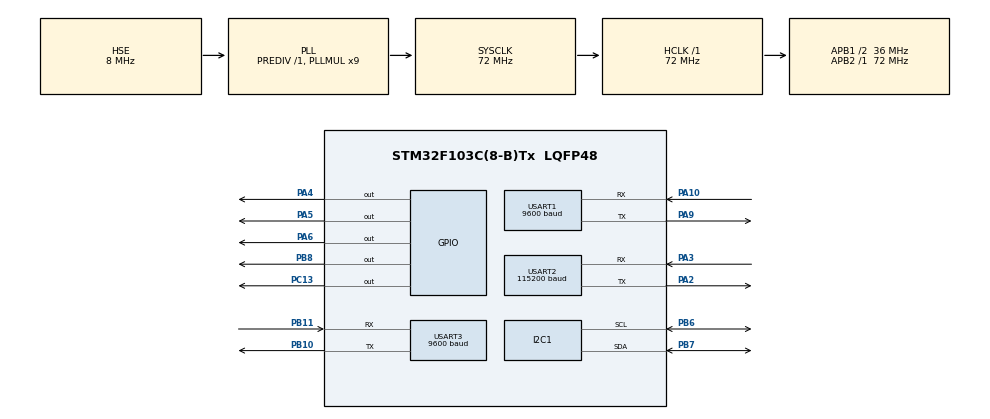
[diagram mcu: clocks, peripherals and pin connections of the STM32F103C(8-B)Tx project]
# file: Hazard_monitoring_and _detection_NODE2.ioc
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Mcu.Family=STM32F1
Mcu.Name=STM32F103C(8-B)Tx
Mcu.Package=LQFP48
NVIC.PriorityGroup=NVIC_PRIORITYGROUP_4
NVIC.USART1_IRQn=true\:1\:0\:true\:false\:true\:true\:true\:true
PA10.Mode=Asynchronous
PA10.Signal=USART1_RX
PA13.Mode=Serial_Wire
PA13.Signal=SYS_JTMS-SWDIO
PA14.Mode=Serial_Wire
PA14.Signal=SYS_JTCK-SWCLK
PA2.Mode=Asynchronous
PA2.Signal=USART2_TX
PA3.Mode=Asynchronous
PA3.Signal=USART2_RX
PA4.Signal=GPIO_Output
PA5.Signal=GPIO_Output
PA6.Signal=GPIO_Output
PA9.Mode=Asynchronous
PA9.Signal=USART1_TX
PB10.Mode=Asynchronous
PB10.Signal=USART3_TX
PB11.Mode=Asynchronous
PB11.Signal=USART3_RX
PB6.Mode=I2C
PB6.Signal=I2C1_SCL
PB7.Mode=I2C
PB7.Signal=I2C1_SDA
PB8.GPIO_ModeDefaultOutputPP=GPIO_MODE_OUTPUT_OD
PB8.GPIO_PuPd=GPIO_PULLUP
PB8.Signal=GPIO_Output
PC13-TAMPER-RTC.Signal=GPIO_Output
PD0-OSC_IN.Mode=HSE-External-Oscillator
PD0-OSC_IN.Signal=RCC_OSC_IN
PD1-OSC_OUT.Mode=HSE-External-Oscillator
PD1-OSC_OUT.Signal=RCC_OSC_OUT
ProjectManager.HeapSize=0x200
ProjectManager.StackSize=0x400
ProjectManager.TargetToolchain=MDK-ARM V5.32
RCC.AHBFreq_Value=72000000
RCC.APB1CLKDivider=RCC_HCLK_DIV2
RCC.APB1Freq_Value=36000000
RCC.APB1TimFreq_Value=72000000
RCC.APB2Freq_Value=72000000
RCC.APB2TimFreq_Value=72000000
RCC.HCLKFreq_Value=72000000
RCC.PLLMUL=RCC_PLL_MUL9
RCC.PLLSourceVirtual=RCC_PLLSOURCE_HSE
RCC.SYSCLKFreq_VALUE=72000000
RCC.SYSCLKSource=RCC_SYSCLKSOURCE_PLLCLK
RCC.USBFreq_Value=72000000
TIM2.Prescaler=71
USART1.BaudRate=9600
USART1.VirtualMode=VM_ASYNC
USART2.BaudRate=115200
USART2.VirtualMode=VM_ASYNC
USART3.BaudRate=9600
USART3.VirtualMode=VM_ASYNC
VP_TIM2_VS_ClockSourceINT.Mode=Internal
board=custom

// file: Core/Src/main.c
/* USER CODE BEGIN Header */
/**
  ******************************************************************************
  * @file           : main.c
  * @brief          : Main program body
  ******************************************************************************
  * @attention
  *
  * Copyright (c) 2025 STMicroelectronics.
  * All rights reserved.
  *
  * This software is licensed under terms that can be found in the LICENSE file
  * in the root directory of this software component.
  * If no LICENSE file comes with this software, it is provided AS-IS.
  *
  ******************************************************************************
  */
/* USER CODE END Header */
#include "main.h"

/* USER CODE BEGIN Includes */
#include "uart.h"
#include "dht22.h"
#include <string.h>
#include <stdio.h>
#include "dfplayer.h"
#include "LiquidCrystal_I2C.h"
#include "cprintf.h"
#include "hostweb.h"
#include "handle_cmd.h"
#include "lorasendvalue.h"
/* USER CODE END Includes */

I2C_HandleTypeDef hi2c1;

TIM_HandleTypeDef htim2;

UART_HandleTypeDef huart1;
UART_HandleTypeDef huart2;
UART_HandleTypeDef huart3;

void SystemClock_Config(void);
static void MX_GPIO_Init(void);
static void MX_USART1_UART_Init(void);
static void MX_TIM2_Init(void);
static void MX_I2C1_Init(void);
static void MX_USART2_UART_Init(void);
static void MX_USART3_UART_Init(void);

/* USER CODE BEGIN 0 */

/* Var Declaration */
Dht22_Typedef 	dht22;
DfplayerTypedef dfplayer;
LiquidCrystal_I2C hlcd1;
HostwebTypedef hostweb_node2;

/* Nhan ngat UART */

static uint8_t data_rx;
void HAL_UART_RxCpltCallback(UART_HandleTypeDef *huart)
{
	if(huart->Instance == huart1.Instance)
	{

		receive_data(data_rx);
		HAL_UART_Receive_IT(&huart1,&data_rx,1);
	}
}

/* USER CODE END 0 */

int main(void)
{

  /* MCU Configuration--------------------------------------------------------*/

  /* Reset of all peripherals, Initializes the Flash interface and the Systick. */
  HAL_Init();

  /* USER CODE BEGIN Init */
//	HAL_DeInit();
  /* USER CODE END Init */

  /* Configure the system clock */
  SystemClock_Config();

  /* Initialize all configured peripherals */
  MX_GPIO_Init();
  MX_USART1_UART_Init();
  MX_TIM2_Init();
  MX_I2C1_Init();
  MX_USART2_UART_Init();
  MX_USART3_UART_Init();
  /* USER CODE BEGIN 2 */

	HAL_TIM_Base_Start(&htim2);

	HAL_UART_Receive_IT(&huart1,&data_rx,1);
	uart_receive_handle(&hostweb_node2, &dht22);
	lora_send_sensor_value_esp32(&huart1, &dht22);

	dht22_init(&dht22, &htim2, GPIOB, GPIO_PIN_8);
	dht22_handle(&dht22);
	dfplayer_init(&dfplayer, &huart3, 30);
	lcd_init(&hlcd1, &hi2c1, LCD_ADDR_DEFAULT);
	lcd_clear_display(&hlcd1);
	lcd_display_temp_humid(&hlcd1, &dht22);
	hostweb_init(&hostweb_node2, GPIOA, GPIO_PIN_4,
						GPIOA, GPIO_PIN_5, GPIOA, GPIO_PIN_6);

	hostweb_node2.temperature_threshold = 25;
	hostweb_node2.humid_threshold = 50;
	hostweb_node2.buzzer_state = 0;
  /* USER CODE END 2 */

  /* Infinite loop */
  while (1)
  {

    /* USER CODE BEGIN 3 */
/************* DHT22 *************/
		hostweb_handle(&hostweb_node2, &dht22, &dfplayer); // Xu ly du lieu
    // Doc cam bien sau 100ms
		static uint32_t previousTick = 0;
    if (HAL_GetTick() - previousTick >= 100)
		{ // Neu du 100ms
        previousTick = HAL_GetTick();
//
        dht22_handle(&dht22); // Doc cam bien
    }
//		dht22_handle(&dht22); // Doc cam bien
//		// Nhan nguong du lieu cam bien
//		static uint32_t receive_delay_time = 0;
//    if (HAL_GetTick() - receive_delay_time >= 2000)
//		{
//			receive_delay_time = HAL_GetTick();
//			uart_receive_handle(&hostweb_node2, &dht22);
//    }
		uart_receive_handle(&hostweb_node2, &dht22);
		static uint32_t send_delay_time = 0;
    if (HAL_GetTick() - send_delay_time >5500)
		{
       send_delay_time = HAL_GetTick();
			for( int i = 0; i<5; i++)
			{
				lora_send_sensor_value_esp32(&huart1, &dht22);
				HAL_Delay(2);
			}

    }

//		// Gui du lieu cam bien
//		lora_send_sensor_value_esp32(&huart1, &dht22);

    // Kiem tra thoi gian cap nhat du lieu
    static uint32_t value_display_time = 0;
    if (HAL_GetTick() - value_display_time >= 3000) // Cap nhat moi 500ms
    {
			value_display_time = HAL_GetTick();
			lcd_display_temp_humid(&hlcd1, &dht22);  // Hien thi LCD
//			send_value_to_UART(&huart2, &dht22);

		}
		static uint32_t threshold_display_time = 0;
    if (HAL_GetTick() - threshold_display_time >= 1000) // Cap nhat moi 2000ms
    {
			threshold_display_time = HAL_GetTick();
			lcd_display_threshold_temp_humid(&hlcd1, &hostweb_node2);
//			send_threshold_to_UART(&huart2, &hostweb_node2);           // Gui du lieu UART
		}
  }

  /* USER CODE END 3 */
}

void SystemClock_Config(void)
{
  RCC_OscInitTypeDef RCC_OscInitStruct = {0};
  RCC_ClkInitTypeDef RCC_ClkInitStruct = {0};

  /** Initializes the RCC Oscillators according to the specified parameters
  * in the RCC_OscInitTypeDef structure.
  */
  RCC_OscInitStruct.OscillatorType = RCC_OSCILLATORTYPE_HSE;
  RCC_OscInitStruct.HSEState = RCC_HSE_ON;
  RCC_OscInitStruct.HSEPredivValue = RCC_HSE_PREDIV_DIV1;
  RCC_OscInitStruct.HSIState = RCC_HSI_ON;
  RCC_OscInitStruct.PLL.PLLState = RCC_PLL_ON;
  RCC_OscInitStruct.PLL.PLLSource = RCC_PLLSOURCE_HSE;
  RCC_OscInitStruct.PLL.PLLMUL = RCC_PLL_MUL9;
  if (HAL_RCC_OscConfig(&RCC_OscInitStruct) != HAL_OK)
  {
    Error_Handler();
  }

  /** Initializes the CPU, AHB and APB buses clocks
  */
  RCC_ClkInitStruct.ClockType = RCC_CLOCKTYPE_HCLK|RCC_CLOCKTYPE_SYSCLK
                              |RCC_CLOCKTYPE_PCLK1|RCC_CLOCKTYPE_PCLK2;
  RCC_ClkInitStruct.SYSCLKSource = RCC_SYSCLKSOURCE_PLLCLK;
  RCC_ClkInitStruct.AHBCLKDivider = RCC_SYSCLK_DIV1;
  RCC_ClkInitStruct.APB1CLKDivider = RCC_HCLK_DIV2;
  RCC_ClkInitStruct.APB2CLKDivider = RCC_HCLK_DIV1;

  if (HAL_RCC_ClockConfig(&RCC_ClkInitStruct, FLASH_LATENCY_2) != HAL_OK)
  {
    Error_Handler();
  }
}

static void MX_I2C1_Init(void)
{

  hi2c1.Instance = I2C1;
  hi2c1.Init.ClockSpeed = 100000;
  hi2c1.Init.DutyCycle = I2C_DUTYCYCLE_2;
  hi2c1.Init.OwnAddress1 = 0;
  hi2c1.Init.AddressingMode = I2C_ADDRESSINGMODE_7BIT;
  hi2c1.Init.DualAddressMode = I2C_DUALADDRESS_DISABLE;
  hi2c1.Init.OwnAddress2 = 0;
  hi2c1.Init.GeneralCallMode = I2C_GENERALCALL_DISABLE;
  hi2c1.Init.NoStretchMode = I2C_NOSTRETCH_DISABLE;
  if (HAL_I2C_Init(&hi2c1) != HAL_OK)
  {
    Error_Handler();
  }

}

static void MX_TIM2_Init(void)
{

  TIM_ClockConfigTypeDef sClockSourceConfig = {0};
  TIM_MasterConfigTypeDef sMasterConfig = {0};

  htim2.Instance = TIM2;
  htim2.Init.Prescaler = 71;
  htim2.Init.CounterMode = TIM_COUNTERMODE_UP;
  htim2.Init.Period = 65535;
  htim2.Init.ClockDivision = TIM_CLOCKDIVISION_DIV1;
  htim2.Init.AutoReloadPreload = TIM_AUTORELOAD_PRELOAD_DISABLE;
  if (HAL_TIM_Base_Init(&htim2) != HAL_OK)
  {
    Error_Handler();
  }
  sClockSourceConfig.ClockSource = TIM_CLOCKSOURCE_INTERNAL;
  if (HAL_TIM_ConfigClockSource(&htim2, &sClockSourceConfig) != HAL_OK)
  {
    Error_Handler();
  }
  sMasterConfig.MasterOutputTrigger = TIM_TRGO_RESET;
  sMasterConfig.MasterSlaveMode = TIM_MASTERSLAVEMODE_DISABLE;
  if (HAL_TIMEx_MasterConfigSynchronization(&htim2, &sMasterConfig) != HAL_OK)
  {
    Error_Handler();
  }

}

static void MX_USART1_UART_Init(void)
{

  huart1.Instance = USART1;
  huart1.Init.BaudRate = 9600;
  huart1.Init.WordLength = UART_WORDLENGTH_8B;
  huart1.Init.StopBits = UART_STOPBITS_1;
  huart1.Init.Parity = UART_PARITY_NONE;
  huart1.Init.Mode = UART_MODE_TX_RX;
  huart1.Init.HwFlowCtl = UART_HWCONTROL_NONE;
  huart1.Init.OverSampling = UART_OVERSAMPLING_16;
  if (HAL_UART_Init(&huart1) != HAL_OK)
  {
    Error_Handler();
  }

}

static void MX_USART2_UART_Init(void)
{

  huart2.Instance = USART2;
  huart2.Init.BaudRate = 115200;
  huart2.Init.WordLength = UART_WORDLENGTH_8B;
  huart2.Init.StopBits = UART_STOPBITS_1;
  huart2.Init.Parity = UART_PARITY_NONE;
  huart2.Init.Mode = UART_MODE_TX_RX;
  huart2.Init.HwFlowCtl = UART_HWCONTROL_NONE;
  huart2.Init.OverSampling = UART_OVERSAMPLING_16;
  if (HAL_UART_Init(&huart2) != HAL_OK)
  {
    Error_Handler();
  }

}

static void MX_USART3_UART_Init(void)
{

  huart3.Instance = USART3;
  huart3.Init.BaudRate = 9600;
  huart3.Init.WordLength = UART_WORDLENGTH_8B;
  huart3.Init.StopBits = UART_STOPBITS_1;
  huart3.Init.Parity = UART_PARITY_NONE;
  huart3.Init.Mode = UART_MODE_TX_RX;
  huart3.Init.HwFlowCtl = UART_HWCONTROL_NONE;
  huart3.Init.OverSampling = UART_OVERSAMPLING_16;
  if (HAL_UART_Init(&huart3) != HAL_OK)
  {
    Error_Handler();
  }

}

static void MX_GPIO_Init(void)
{
  GPIO_InitTypeDef GPIO_InitStruct = {0};

  /* GPIO Ports Clock Enable */
  __HAL_RCC_GPIOC_CLK_ENABLE();
  __HAL_RCC_GPIOD_CLK_ENABLE();
  __HAL_RCC_GPIOA_CLK_ENABLE();
  __HAL_RCC_GPIOB_CLK_ENABLE();

  /*Configure GPIO pin Output Level */
  HAL_GPIO_WritePin(GPIOC, GPIO_PIN_13, GPIO_PIN_RESET);

  /*Configure GPIO pin Output Level */
  HAL_GPIO_WritePin(GPIOA, GPIO_PIN_4|GPIO_PIN_5|GPIO_PIN_6, GPIO_PIN_RESET);

  /*Configure GPIO pin Output Level */
  HAL_GPIO_WritePin(GPIOB, GPIO_PIN_8, GPIO_PIN_RESET);

  /*Configure GPIO pin : PC13 */
  GPIO_InitStruct.Pin = GPIO_PIN_13;
  GPIO_InitStruct.Mode = GPIO_MODE_OUTPUT_PP;
  GPIO_InitStruct.Pull = GPIO_NOPULL;
  GPIO_InitStruct.Speed = GPIO_SPEED_FREQ_LOW;
  HAL_GPIO_Init(GPIOC, &GPIO_InitStruct);

  /*Configure GPIO pins : PA4 PA5 PA6 */
  GPIO_InitStruct.Pin = GPIO_PIN_4|GPIO_PIN_5|GPIO_PIN_6;
  GPIO_InitStruct.Mode = GPIO_MODE_OUTPUT_PP;
  GPIO_InitStruct.Pull = GPIO_NOPULL;
  GPIO_InitStruct.Speed = GPIO_SPEED_FREQ_LOW;
  HAL_GPIO_Init(GPIOA, &GPIO_InitStruct);

  /*Configure GPIO pin : PB8 */
  GPIO_InitStruct.Pin = GPIO_PIN_8;
  GPIO_InitStruct.Mode = GPIO_MODE_OUTPUT_OD;
  GPIO_InitStruct.Pull = GPIO_PULLUP;
  GPIO_InitStruct.Speed = GPIO_SPEED_FREQ_LOW;
  HAL_GPIO_Init(GPIOB, &GPIO_InitStruct);

}

void Error_Handler(void)
{
  __disable_irq();
  while (1)
  {
  }
}
